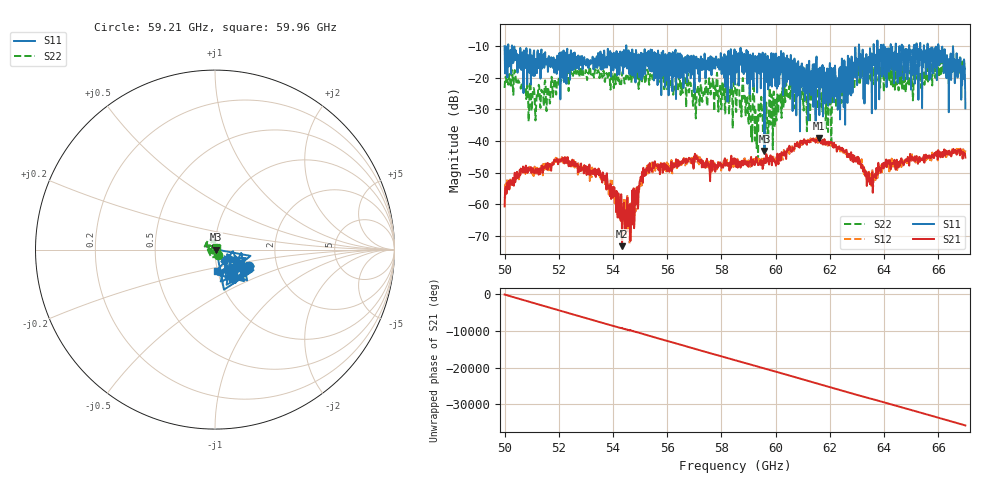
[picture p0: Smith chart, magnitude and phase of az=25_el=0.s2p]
!Created with skrf (http://scikit-rf.org).
# GHz S RI R 50.0
!freq ReS11 ImS11 ReS21 ImS21 ReS12 ImS12 ReS22 ImS22
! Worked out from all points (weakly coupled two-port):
!   1001 points, 50 GHz to 67 GHz, reference 50 ohm
!   highest |S21| = -39.11 dB at 61.59 GHz (marker M1); lowest = -73.2 dB at 54.34 GHz (marker M2)
!   lowest |S11| = -43.1 dB at 59.59 GHz (marker M3), VSWR 1.01, Z = 50.7 + j0.0303 ohm
!   |S11| at or under -10 dB: 50.27 GHz to 54.49 GHz (4.215 GHz wide, 8.05 % of centre); 54.49 GHz to 63.07 GHz (8.583 GHz wide, 14.6 % of centre); 66.01 GHz to end of sweep (the widest 3 of 19)
!   |S22| runs from -47.4 to -13.6 dB; largest |S21 - S12| = 0.0022
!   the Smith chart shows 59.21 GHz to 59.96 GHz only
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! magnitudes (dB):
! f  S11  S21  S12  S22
! 50 GHz  -10.1  -60.7  -57.7  -23.3
! 50.65 GHz  -15.7  -49.1  -50.6  -22.0
! 51.07 GHz  -12.2  -49.5  -51.1  -23.3
! 52.84 GHz  -14.3  -49.1  -48.6  -19.1
! 53.71 GHz  -16.9  -50.9  -53.6  -21.4
! 54.34 GHz  -16.3  -73.2  -66.7  -18.8
! 54.64 GHz  -16.0  -71.6  -63.6  -19.7
! 55.17 GHz  -11.1  -51.1  -50.2  -20.0
! 55.68 GHz  -13.7  -49.2  -48.9  -21.6
! 57 GHz  -24.7  -46.7  -45.3  -21.2
! 58.5 GHz  -22.2  -46.2  -47.8  -23.4
! 59.59 GHz  -43.1  -46.3  -45.7  -32.7
! 60.57 GHz  -16.9  -43.4  -42.0  -22.3
! 61.34 GHz  -24.6  -39.4  -39.8  -23.9
! 61.59 GHz  -17.2  -39.1  -39.3  -26.2
! 62 GHz  -15.4  -40.3  -39.9  -23.1
! 62.6 GHz  -20.1  -42.8  -43.6  -20.4
! 63.5 GHz  -15.0  -51.9  -52.8  -17.2
! 64.18 GHz  -18.1  -46.2  -47.6  -17.8
! 66.08 GHz  -15.1  -45.2  -43.8  -15.3
! 66.75 GHz  -18.3  -42.9  -42.5  -18.5
! 67 GHz  -29.7  -45.3  -43.0  -16.1
